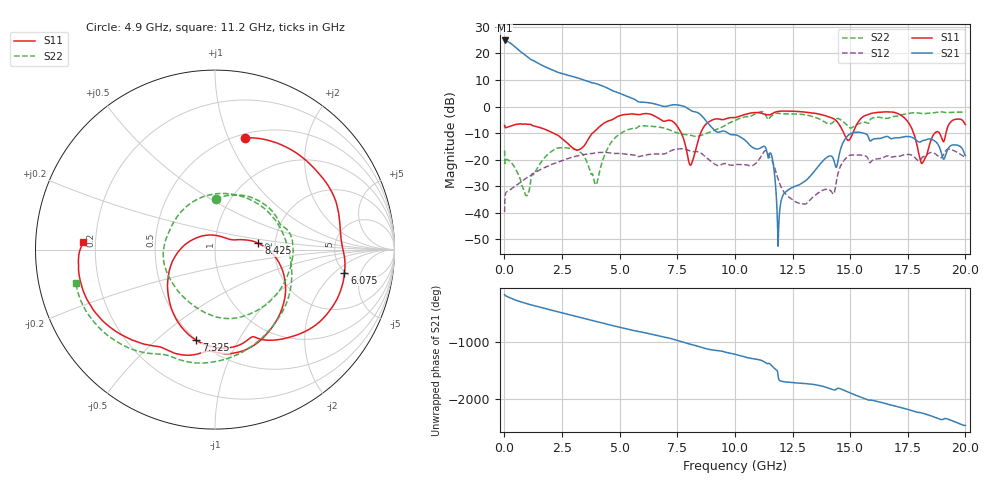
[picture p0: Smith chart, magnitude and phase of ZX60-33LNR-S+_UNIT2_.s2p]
!Mini-Circuits Laboratory
!S-Parameters
!Model: ZX60-33LNR-S+
!Run / Lot / Date Code: E181103 / N/A / N/A
!Fixture: N/A, Pressing Arm: N/A
!Network Analyzer: PNA-X N5242A - 423 4 ports;  Serial number: 74302
!Date: 11/9/2018 at 2:34:54 PM
!S/N: Unit# 2
!Volage and Current limited to 5V and 150mA
# Hz  S  dB  R  50
!Frequency  S11 dB  S11 Deg  S21 dB  S21 Deg  S12 dB  S12 Deg  S22 dB  S22 Deg
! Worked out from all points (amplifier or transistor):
!   879 points, 10 MHz to 20 GHz, reference 50 ohm
!   highest |S21| = 24.9 dB at 15 MHz (marker M1)
!   |S21| within 3 dB of that: start of sweep to 542 MHz
!   unconditionally stable (mu >= 1): start of sweep to end of sweep
!   at 1.7 GHz: K = 1.22, MAG = 16.3 dB, |S12| = -23.1 dB
!   at 9.025 GHz: K = 8.73, MAG = -6.0 dB, |S12| = -21.0 dB
!   at 20 GHz: K = 10.27, MAG = -13.0 dB, |S12| = -18.7 dB
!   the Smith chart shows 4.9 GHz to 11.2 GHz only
!   S11 on the Smith chart (normalised r, x): 4.9 GHz: 0.54, +1.15; 6.075 GHz: 4.93, -2.72; 7.325 GHz: 0.50, -0.68; 8.425 GHz: 1.63, +0.12; 11.2 GHz: 0.15, +0.03
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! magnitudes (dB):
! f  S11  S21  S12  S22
! 10 MHz  -7.1  24.8  -39.7  -16.5
! 15 MHz  -7.3  24.9  -36.9  -19.6
! 950 MHz  -6.6  19.0  -26.9  -33.6
! 2.025 GHz  -9.6  14.0  -21.9  -17.0
! 3.35 GHz  -15.7  10.3  -18.2  -17.6
! 3.975 GHz  -8.8  8.6  -17.4  -29.4
! 4.9 GHz  -3.8  5.3  -17.6  -11.0
! 6.075 GHz  -2.7  1.6  -18.3  -7.3
! 6.675 GHz  -4.3  0.6  -17.9  -7.7
! 7.325 GHz  -5.8  0.6  -16.3  -9.4
! 8.075 GHz  -22.1  -1.4  -16.8  -10.8
! 8.425 GHz  -12.3  -2.5  -17.1  -11.1
! 10.03 GHz  -4.1  -10.7  -21.9  -5.2
! 11.2 GHz  -2.7  -15.1  -17.9  -2.0
! 11.62 GHz  -2.6  -19.6  -20.5  -3.3
! 11.9 GHz  -1.8  -45.6  -28.0  -2.6
! 13.35 GHz  -2.4  -25.4  -34.4  -3.7
! 14.93 GHz  -12.7  -10.7  -18.6  -7.5
! 16.68 GHz  -2.1  -11.5  -18.6  -4.3
! 17.52 GHz  -6.0  -11.3  -18.0  -2.6
! 18.12 GHz  -21.3  -12.9  -19.2  -2.7
! 20 GHz  -6.8  -18.5  -18.7  -2.0
